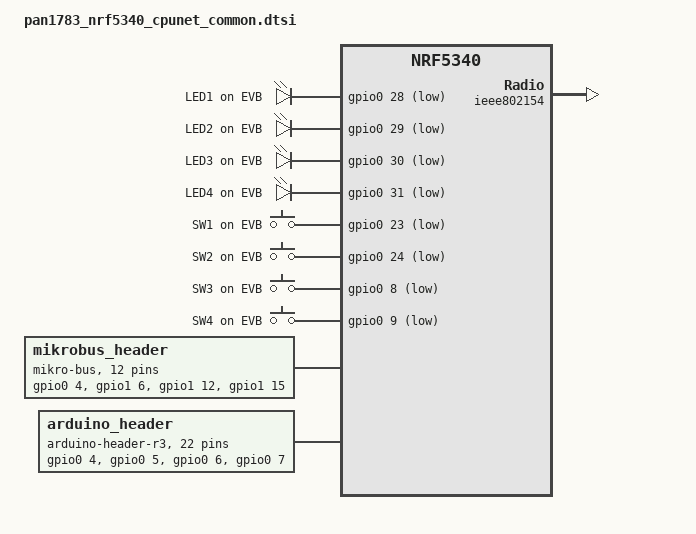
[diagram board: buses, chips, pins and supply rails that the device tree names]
/*
 * Copyright (c) 2023 Panasonic Industrial Devices Europe GmbH
 *
 * SPDX-License-Identifier: Apache-2.0
 */
#include "pan1783_nrf5340_cpunet-pinctrl.dtsi"
#include <zephyr/dt-bindings/gpio/arduino-header-r3.h>
#include <zephyr/dt-bindings/input/input-event-codes.h>

/ {
	chosen {
		zephyr,console = &uart0;
		zephyr,shell-uart = &uart0;
		zephyr,uart-mcumgr = &uart0;
		zephyr,bt-mon-uart = &uart0;
		zephyr,bt-c2h-uart = &uart0;
		zephyr,bt-hci-ipc = &ipc0;
		nordic,802154-spinel-ipc = &ipc0;
		zephyr,ieee802154 = &ieee802154;
	};

	leds {
		compatible = "gpio-leds";

		evb_led1: evb_led_1 {
			gpios = <&gpio0 28 GPIO_ACTIVE_LOW>;
			label = "LED1 on EVB";
		};

		evb_led2: evb_led_2 {
			gpios = <&gpio0 29 GPIO_ACTIVE_LOW>;
			label = "LED2 on EVB";
		};

		evb_led3: evb_led_3 {
			gpios = <&gpio0 30 GPIO_ACTIVE_LOW>;
			label = "LED3 on EVB";
		};

		evb_led4: evb_led_4 {
			gpios = <&gpio0 31 GPIO_ACTIVE_LOW>;
			label = "LED4 on EVB";
		};
	};

	buttons {
		compatible = "gpio-keys";

		evb_sw1: evb_sw_1 {
			gpios = <&gpio0 23 (GPIO_PULL_UP | GPIO_ACTIVE_LOW)>;
			label = "SW1 on EVB";
			zephyr,code = <INPUT_KEY_0>;
		};

		evb_sw2: evb_sw_2 {
			gpios = <&gpio0 24 (GPIO_PULL_UP | GPIO_ACTIVE_LOW)>;
			label = "SW2 on EVB";
			zephyr,code = <INPUT_KEY_1>;
		};

		evb_sw3: evb_sw_3 {
			gpios = <&gpio0 8 (GPIO_PULL_UP | GPIO_ACTIVE_LOW)>;
			label = "SW3 on EVB";
			zephyr,code = <INPUT_KEY_2>;
		};

		evb_sw4: evb_sw_4 {
			gpios = <&gpio0 9 (GPIO_PULL_UP | GPIO_ACTIVE_LOW)>;
			label = "SW4 on EVB";
			zephyr,code = <INPUT_KEY_3>;
		};
	};

	mikrobus_header: mikrobus-connector {
		compatible = "mikro-bus";
		#gpio-cells = <2>;
		gpio-map-mask = <0xffffffff 0xffffffc0>;
		gpio-map-pass-thru = <0 0x3f>;
		gpio-map = <0 0 &gpio0 4 0>,        /* AN  */
			   <1 0 &gpio1 6 0>,         /* RST */
			   <2 0 &gpio1 12 0>,        /* CS   */
			   <3 0 &gpio1 15 0>,        /* SCK  */
			   <4 0 &gpio1 14 0>,        /* MISO */
			   <5 0 &gpio1 13 0>,        /* MOSI */
			   /* +3.3V */
			   /* GND */
			   <6 0 &gpio1 7 0>,        /* PWM  */
			   <7 0 &gpio1 4 0>,        /* INT  */
			   <8 0 &gpio1 0 0>,        /* RX   */
			   <9 0 &gpio1 1 0>,        /* TX   */
			   <10 0 &gpio1 3 0>,        /* SCL  */
			   <11 0 &gpio1 2 0>;        /* SDA  */
		/* +5V */
		/* GND */
	};

	arduino_header: connector {
		compatible = "arduino-header-r3";
		#gpio-cells = <2>;
		gpio-map-mask = <0xffffffff 0xffffffc0>;
		gpio-map-pass-thru = <0 0x3f>;
		gpio-map = <ARDUINO_HEADER_R3_A0 0 &gpio0 4 0>,
			   <ARDUINO_HEADER_R3_A1 0 &gpio0 5 0>,
			   <ARDUINO_HEADER_R3_A2 0 &gpio0 6 0>,
			   <ARDUINO_HEADER_R3_A3 0 &gpio0 7 0>,
			   <ARDUINO_HEADER_R3_A4 0 &gpio0 25 0>,
			   <ARDUINO_HEADER_R3_A5 0 &gpio0 26 0>,
			   <ARDUINO_HEADER_R3_D0 0 &gpio1 0 0>,
			   <ARDUINO_HEADER_R3_D1 0 &gpio1 1 0>,
			   <ARDUINO_HEADER_R3_D2 0 &gpio1 4 0>,
			   <ARDUINO_HEADER_R3_D3 0 &gpio1 5 0>,
			   <ARDUINO_HEADER_R3_D4 0 &gpio1 6 0>,
			   <ARDUINO_HEADER_R3_D5 0 &gpio1 7 0>,
			   <ARDUINO_HEADER_R3_D6 0 &gpio1 8 0>,
			   <ARDUINO_HEADER_R3_D7 0 &gpio1 9 0>,
			   <ARDUINO_HEADER_R3_D8 0 &gpio1 10 0>,
			   <ARDUINO_HEADER_R3_D9 0 &gpio1 11 0>,
			   <ARDUINO_HEADER_R3_D10 0 &gpio1 12 0>,
			   <ARDUINO_HEADER_R3_D11 0 &gpio1 13 0>,
			   <ARDUINO_HEADER_R3_D12 0 &gpio1 14 0>,
			   <ARDUINO_HEADER_R3_D13 0 &gpio1 15 0>,
			   <ARDUINO_HEADER_R3_D14 0 &gpio1 2 0>,
			   <ARDUINO_HEADER_R3_D15 0 &gpio1 3 0>;
	};

	/* These aliases are provided for compatibility with samples */
	aliases {
		led0 = &evb_led1;
		led1 = &evb_led2;
		led2 = &evb_led3;
		led3 = &evb_led4;
		sw0 = &evb_sw1;
		sw1 = &evb_sw2;
		sw2 = &evb_sw3;
		sw3 = &evb_sw4;
		mcuboot-button0 = &evb_sw1;
		mcuboot-led0 = &evb_led1;
		watchdog0 = &wdt0;
	};
};

&gpiote {
	status = "okay";
};

&gpio0 {
	status = "okay";
};

&gpio1 {
	status = "okay";
};

&uart0 {
	status = "disabled";
	current-speed = <115200>;
	pinctrl-0 = <&uart0_default>;
	pinctrl-1 = <&uart0_sleep>;
	pinctrl-names = "default", "sleep";
};

arduino_serial: &uart0 {};

arduino_i2c: &i2c0 {
	compatible = "nordic,nrf-twim";
	/* Cannot be used together with uart0. */
	/* status = "okay"; */
	pinctrl-0 = <&i2c0_default>;
	pinctrl-1 = <&i2c0_sleep>;
	pinctrl-names = "default", "sleep";
};

arduino_spi: &spi0 {
	compatible = "nordic,nrf-spim";
	/* Cannot be used together with uart0. */
	/* status = "okay"; */
	cs-gpios = <&arduino_header 16 GPIO_ACTIVE_LOW>; /* D10 */
	pinctrl-0 = <&spi0_default>;
	pinctrl-1 = <&spi0_sleep>;
	pinctrl-names = "default", "sleep";
};

&flash1 {
	partitions {
		compatible = "fixed-partitions";
		#address-cells = <1>;
		#size-cells = <1>;

		boot_partition: partition@0 {
			label = "mcuboot";
			reg = <0x00000000 0xc000>;
		};

		slot0_partition: partition@c000 {
			label = "image-0";
			reg = <0x0000C000 0x17000>;
		};

		slot1_partition: partition@23000 {
			label = "image-1";
			reg = <0x00023000 0x17000>;
		};

		storage_partition: partition@3a000 {
			label = "storage";
			reg = <0x0003a000 0x6000>;
		};
	};
};

&ieee802154 {
	status = "okay";
};

/* Include default shared RAM configuration file */
#include <nordic/nrf5340_shared_sram_partition.dtsi>
